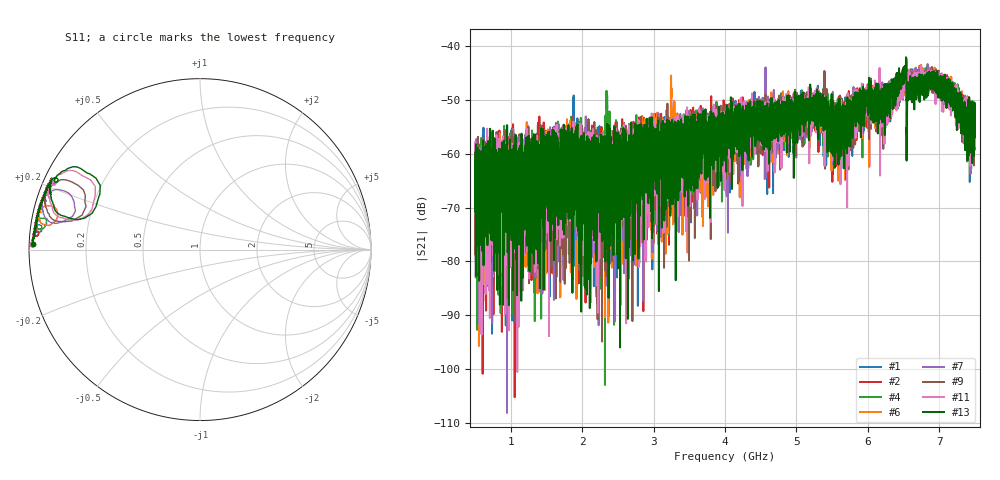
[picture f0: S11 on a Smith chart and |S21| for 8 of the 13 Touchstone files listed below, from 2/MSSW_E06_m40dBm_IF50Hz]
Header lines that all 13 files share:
!Keysight Technologies,M9374A,MY55442783,A.12.55.05
!Correction: S11(Full 2 Port(1,2))
!S21(Full 2 Port(1,2))
!S12(Full 2 Port(1,2))
!S22(Full 2 Port(1,2))
!S2P File: Measurements: S11, S21, S12, S22:
# Hz S  RI  R 50
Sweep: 500 MHz to 7.5 GHz
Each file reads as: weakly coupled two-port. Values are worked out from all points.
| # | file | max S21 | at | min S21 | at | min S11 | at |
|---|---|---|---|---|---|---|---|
| 1 | MSSW_E06_i0.5.s2p | -43.76 dB | 6.832 GHz | -93.4 dB | 738 MHz | -0.6 dB | 1.873 GHz |
| 2 | MSSW_E06_i0.s2p | -44.06 dB | 6.724 GHz | -105.2 dB | 1.056 GHz | -0.5 dB | 1.374 GHz |
| 3 | MSSW_E06_i1.5.s2p | -43.93 dB | 6.833 GHz | -95.8 dB | 769 MHz | -1.1 dB | 2.793 GHz |
| 4 | MSSW_E06_i1.s2p | -43.42 dB | 6.837 GHz | -103.0 dB | 2.319 GHz | -0.8 dB | 2.336 GHz |
| 5 | MSSW_E06_i2.5.s2p | -43.39 dB | 3.699 GHz | -106.5 dB | 1.724 GHz | -1.7 dB | 3.705 GHz |
| 6 | MSSW_E06_i2.s2p | -43.52 dB | 6.746 GHz | -95.7 dB | 555 MHz | -1.4 dB | 3.25 GHz |
| 7 | MSSW_E06_i3.5.s2p | -43.38 dB | 6.837 GHz | -108.1 dB | 948 MHz | -2.4 dB | 4.572 GHz |
| 8 | MSSW_E06_i3.s2p | -43.65 dB | 6.837 GHz | -93.0 dB | 2.231 GHz | -2.0 dB | 4.147 GHz |
| 9 | MSSW_E06_i4.5.s2p | -43.90 dB | 6.898 GHz | -94.9 dB | 2.278 GHz | -3.0 dB | 5.397 GHz |
| 10 | MSSW_E06_i4.s2p | -43.38 dB | 4.986 GHz | -93.3 dB | 2.656 GHz | -2.7 dB | 4.993 GHz |
| 11 | MSSW_E06_i5.5.s2p | -43.71 dB | 6.741 GHz | -100.5 dB | 1.092 GHz | -3.4 dB | 6.167 GHz |
| 12 | MSSW_E06_i5.s2p | -43.73 dB | 6.757 GHz | -94.4 dB | 936 MHz | -3.2 dB | 5.786 GHz |
| 13 | MSSW_E06_i6.s2p | -42.10 dB | 6.534 GHz | -96.0 dB | 2.53 GHz | -3.6 dB | 6.54 GHz |
